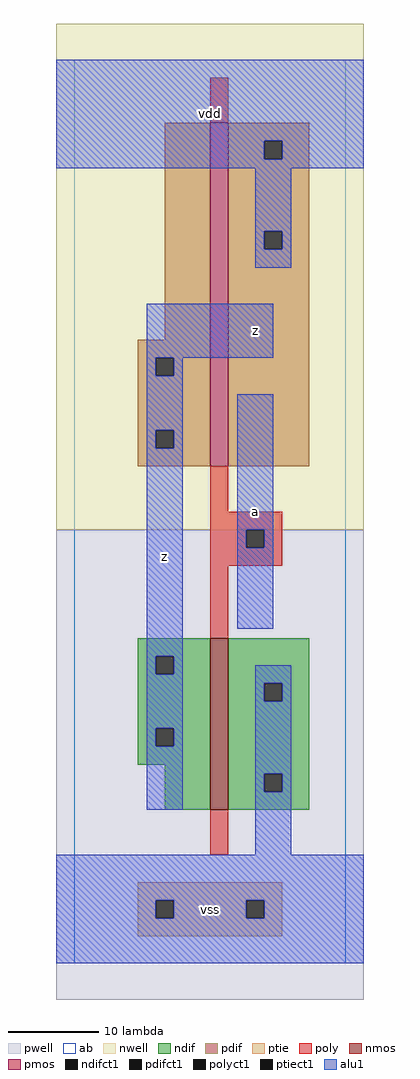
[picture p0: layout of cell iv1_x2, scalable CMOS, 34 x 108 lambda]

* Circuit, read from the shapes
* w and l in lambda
.subckt iv1_x2 a vdd vss z
M1 vss a z vss nfet w=19 l=2
M2 vdd a z n1 pfet w=38 l=2
.ends

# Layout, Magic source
magic
tech scmos
<< ab >>
rect 0 0 30 100
<< nwell >>
rect -2 48 32 104
<< pwell >>
rect -2 -4 32 48
<< poly >>
rect 15 93 17 98
rect 15 50 17 55
rect 15 48 23 50
rect 15 46 19 48
rect 21 46 23 48
rect 15 44 23 46
rect 15 36 17 44
rect 15 12 17 17
<< ndif >>
rect 7 34 15 36
rect 7 32 9 34
rect 11 32 15 34
rect 7 26 15 32
rect 7 24 9 26
rect 11 24 15 26
rect 7 22 15 24
rect 10 17 15 22
rect 17 31 26 36
rect 17 29 21 31
rect 23 29 26 31
rect 17 21 26 29
rect 17 19 21 21
rect 23 19 26 21
rect 17 17 26 19
<< pdif >>
rect 10 69 15 93
rect 7 67 15 69
rect 7 65 9 67
rect 11 65 15 67
rect 7 59 15 65
rect 7 57 9 59
rect 11 57 15 59
rect 7 55 15 57
rect 17 91 26 93
rect 17 89 21 91
rect 23 89 26 91
rect 17 81 26 89
rect 17 79 21 81
rect 23 79 26 81
rect 17 55 26 79
<< alu1 >>
rect -2 91 32 100
rect -2 89 21 91
rect 23 89 32 91
rect -2 88 32 89
rect 20 81 24 88
rect 20 79 21 81
rect 23 79 24 81
rect 20 77 24 79
rect 8 67 22 73
rect 8 65 9 67
rect 11 65 12 67
rect 8 59 12 65
rect 8 57 9 59
rect 11 57 12 59
rect 8 34 12 57
rect 18 48 22 63
rect 18 46 19 48
rect 21 46 22 48
rect 18 37 22 46
rect 8 32 9 34
rect 11 32 12 34
rect 8 26 12 32
rect 8 24 9 26
rect 11 24 12 26
rect 8 17 12 24
rect 20 31 24 33
rect 20 29 21 31
rect 23 29 24 31
rect 20 21 24 29
rect 20 19 21 21
rect 23 19 24 21
rect 20 12 24 19
rect -2 7 32 12
rect -2 5 9 7
rect 11 5 19 7
rect 21 5 32 7
rect -2 0 32 5
<< ptie >>
rect 7 7 23 9
rect 7 5 9 7
rect 11 5 19 7
rect 21 5 23 7
rect 7 3 23 5
<< nmos >>
rect 15 17 17 36
<< pmos >>
rect 15 55 17 93
<< polyct1 >>
rect 19 46 21 48
<< ndifct1 >>
rect 9 32 11 34
rect 9 24 11 26
rect 21 29 23 31
rect 21 19 23 21
<< ptiect1 >>
rect 9 5 11 7
rect 19 5 21 7
<< pdifct1 >>
rect 9 65 11 67
rect 9 57 11 59
rect 21 89 23 91
rect 21 79 23 81
<< labels >>
rlabel alu1 10 45 10 45 6 z
rlabel alu1 15 6 15 6 6 vss
rlabel alu1 20 50 20 50 6 a
rlabel alu1 20 70 20 70 6 z
rlabel alu1 15 94 15 94 6 vdd
<< end >>
